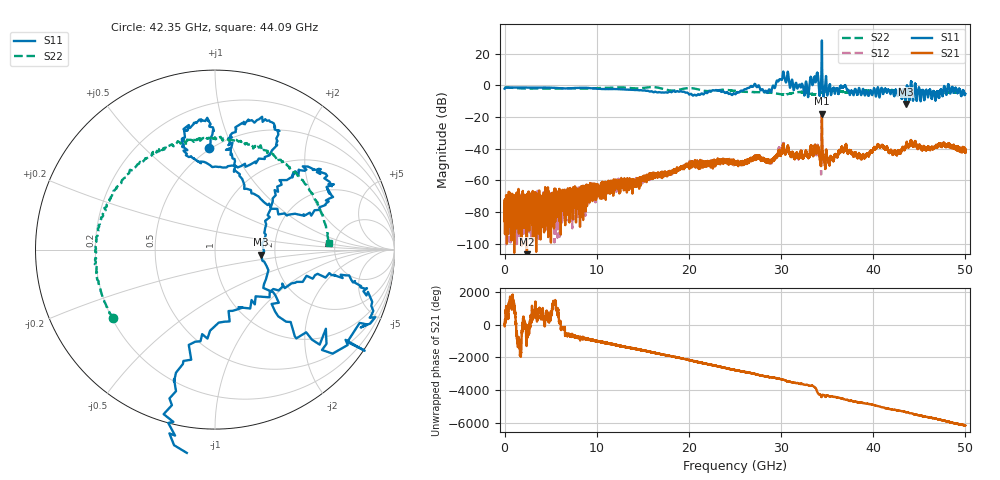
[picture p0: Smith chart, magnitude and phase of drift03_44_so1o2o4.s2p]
!Created with skrf (http://scikit-rf.org).
# Hz S RI R 50.0
!freq ReS11 ImS11 ReS21 ImS21 ReS12 ImS12 ReS22 ImS22
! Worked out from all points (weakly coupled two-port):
!   10000 points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, 5.3 MHz to 50 GHz, reference 50 ohm
!   highest |S21| = -17.83 dB at 34.43 GHz (marker M1); lowest = -108.7 dB at 2.425 GHz (marker M2)
!   lowest |S11| = -11.7 dB at 43.53 GHz (marker M3), VSWR 1.70, Z = 84.5 - j5 ohm
!   |S11| at or under -10 dB: 43.49059 GHz to 43.54425 GHz (53.65 MHz wide, 0.123 % of centre); 45.13924 GHz to 45.14073 GHz (1.485 MHz wide, 0.00329 % of centre)
!   |S22| runs from -5.8 to -1.1 dB; largest |S21 - S12| = 0.044
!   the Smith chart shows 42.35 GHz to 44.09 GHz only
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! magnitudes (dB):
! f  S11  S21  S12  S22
! 5.3 MHz  -2.1  -78.0  -75.8  -1.3
! 2.425 GHz  -1.4  -108.7  -81.1  -2.0
! 8.34 GHz  -1.5  -66.2  -65.5  -2.1
! 16.67 GHz  -4.4  -57.2  -56.0  -1.5
! 20.33 GHz  -5.8  -50.4  -49.5  -1.8
! 25.01 GHz  -5.5  -49.2  -48.8  -3.5
! 27.02 GHz  -0.3  -45.5  -46.3  -4.3
! 28.72 GHz  -2.5  -49.3  -48.3  -4.5
! 30.14 GHz  4.5  -39.6  -40.0  -5.7
! 32.74 GHz  2.0  -42.1  -42.1  -4.6
! 33.34 GHz  2.6  -40.3  -40.3  -5.4
! 33.82 GHz  4.0  -42.4  -41.9  -5.7
! 34.43 GHz  28.4  -17.8  -18.8  -4.6
! 35.32 GHz  0.4  -46.5  -45.4  -3.4
! 36.84 GHz  -0.7  -41.4  -42.0  -4.1
! 38.84 GHz  -3.0  -44.2  -44.2  -3.2
! 40.61 GHz  -5.1  -38.6  -38.3  -4.0
! 41.67 GHz  -3.0  -41.8  -41.9  -3.3
! 43.53 GHz  -11.7  -38.3  -38.7  -4.1
! 46.57 GHz  -3.6  -39.8  -39.3  -4.5
! 47.63 GHz  -2.6  -36.4  -36.1  -4.7
! 50 GHz  -5.3  -42.4  -41.2  -4.5
